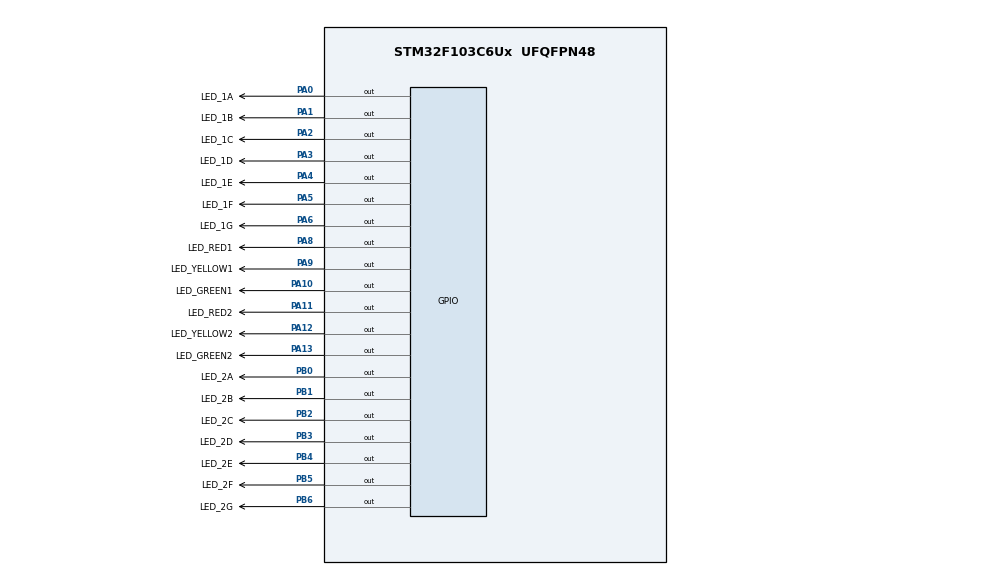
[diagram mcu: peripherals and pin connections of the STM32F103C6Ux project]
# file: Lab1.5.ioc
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Mcu.Family=STM32F1
Mcu.Name=STM32F103C6Ux
Mcu.Package=UFQFPN48
NVIC.PriorityGroup=NVIC_PRIORITYGROUP_4
PA0-WKUP.GPIO_Label=LED_1A
PA0-WKUP.Signal=GPIO_Output
PA1.GPIO_Label=LED_1B
PA1.Signal=GPIO_Output
PA10.GPIO_Label=LED_GREEN1
PA10.Signal=GPIO_Output
PA11.GPIO_Label=LED_RED2
PA11.Signal=GPIO_Output
PA12.GPIO_Label=LED_YELLOW2
PA12.Signal=GPIO_Output
PA13.GPIO_Label=LED_GREEN2
PA13.Signal=GPIO_Output
PA2.GPIO_Label=LED_1C
PA2.Signal=GPIO_Output
PA3.GPIO_Label=LED_1D
PA3.Signal=GPIO_Output
PA4.GPIO_Label=LED_1E
PA4.Signal=GPIO_Output
PA5.GPIO_Label=LED_1F
PA5.Signal=GPIO_Output
PA6.GPIO_Label=LED_1G
PA6.Signal=GPIO_Output
PA8.GPIO_Label=LED_RED1
PA8.Signal=GPIO_Output
PA9.GPIO_Label=LED_YELLOW1
PA9.Signal=GPIO_Output
PB0.GPIO_Label=LED_2A
PB0.Signal=GPIO_Output
PB1.GPIO_Label=LED_2B
PB1.Signal=GPIO_Output
PB2.GPIO_Label=LED_2C
PB2.Signal=GPIO_Output
PB3.GPIO_Label=LED_2D
PB3.Signal=GPIO_Output
PB4.GPIO_Label=LED_2E
PB4.Signal=GPIO_Output
PB5.GPIO_Label=LED_2F
PB5.Signal=GPIO_Output
PB6.GPIO_Label=LED_2G
PB6.Signal=GPIO_Output
ProjectManager.HeapSize=0x200
ProjectManager.StackSize=0x400
ProjectManager.TargetToolchain=STM32CubeIDE
RCC.APB1Freq_Value=8000000
RCC.APB2Freq_Value=8000000
VP_SYS_VS_ND.Mode=No_Debug
board=custom

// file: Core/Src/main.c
/* USER CODE BEGIN Header */
/**
  ******************************************************************************
  * @file           : main.c
  * @brief          : Main program body
  ******************************************************************************
  * @attention
  *
  * <h2><center>&copy; Copyright (c) 2025 STMicroelectronics.
  * All rights reserved.</center></h2>
  *
  * This software component is licensed by ST under BSD 3-Clause license,
  * the "License"; You may not use this file except in compliance with the
  * License. You may obtain a copy of the License at:
  *                        opensource.org/licenses/BSD-3-Clause
  *
  ******************************************************************************
  */
/* USER CODE END Header */
#include "main.h"

void SystemClock_Config(void);
static void MX_GPIO_Init(void);

int main(void)
{
  /* USER CODE BEGIN 1 */
	void display7SEG1(int num) {
		const uint8_t segmentMap[10][7] = {
			{1,1,1,1,1,1,0}, // 0
			{0,1,1,0,0,0,0}, // 1
			{1,1,0,1,1,0,1}, // 2
			{1,1,1,1,0,0,1}, // 3
			{0,1,1,0,0,1,1}, // 4
			{1,0,1,1,0,1,1}, // 5
			{1,0,1,1,1,1,1}, // 6
			{1,1,1,0,0,0,0}, // 7
			{1,1,1,1,1,1,1}, // 8
			{1,1,1,1,0,1,1}  // 9
		};

		if (num < 0 || num > 9) return; // invalid input

		HAL_GPIO_WritePin(LED_1A_GPIO_Port, LED_1A_Pin, segmentMap[num][0] ? GPIO_PIN_RESET : GPIO_PIN_SET);
		HAL_GPIO_WritePin(LED_1B_GPIO_Port, LED_1B_Pin, segmentMap[num][1] ? GPIO_PIN_RESET : GPIO_PIN_SET);
		HAL_GPIO_WritePin(LED_1C_GPIO_Port, LED_1C_Pin, segmentMap[num][2] ? GPIO_PIN_RESET : GPIO_PIN_SET);
		HAL_GPIO_WritePin(LED_1D_GPIO_Port, LED_1D_Pin, segmentMap[num][3] ? GPIO_PIN_RESET : GPIO_PIN_SET);
		HAL_GPIO_WritePin(LED_1E_GPIO_Port, LED_1E_Pin, segmentMap[num][4] ? GPIO_PIN_RESET : GPIO_PIN_SET);
		HAL_GPIO_WritePin(LED_1F_GPIO_Port, LED_1F_Pin, segmentMap[num][5] ? GPIO_PIN_RESET : GPIO_PIN_SET);
		HAL_GPIO_WritePin(LED_1G_GPIO_Port, LED_1G_Pin, segmentMap[num][6] ? GPIO_PIN_RESET : GPIO_PIN_SET);

	}
	void display7SEG2(int num) {
		const uint8_t segmentMap[10][7] = {
			{1,1,1,1,1,1,0}, // 0
			{0,1,1,0,0,0,0}, // 1
			{1,1,0,1,1,0,1}, // 2
			{1,1,1,1,0,0,1}, // 3
			{0,1,1,0,0,1,1}, // 4
			{1,0,1,1,0,1,1}, // 5
			{1,0,1,1,1,1,1}, // 6
			{1,1,1,0,0,0,0}, // 7
			{1,1,1,1,1,1,1}, // 8
			{1,1,1,1,0,1,1}  // 9
		};

		if (num < 0 || num > 9) return; // invalid input

		HAL_GPIO_WritePin(LED_2A_GPIO_Port, LED_2A_Pin, segmentMap[num][0] ? GPIO_PIN_RESET : GPIO_PIN_SET);
		HAL_GPIO_WritePin(LED_2B_GPIO_Port, LED_2B_Pin, segmentMap[num][1] ? GPIO_PIN_RESET : GPIO_PIN_SET);
		HAL_GPIO_WritePin(LED_2C_GPIO_Port, LED_2C_Pin, segmentMap[num][2] ? GPIO_PIN_RESET : GPIO_PIN_SET);
		HAL_GPIO_WritePin(LED_2D_GPIO_Port, LED_2D_Pin, segmentMap[num][3] ? GPIO_PIN_RESET : GPIO_PIN_SET);
		HAL_GPIO_WritePin(LED_2E_GPIO_Port, LED_2E_Pin, segmentMap[num][4] ? GPIO_PIN_RESET : GPIO_PIN_SET);
		HAL_GPIO_WritePin(LED_2F_GPIO_Port, LED_2F_Pin, segmentMap[num][5] ? GPIO_PIN_RESET : GPIO_PIN_SET);
		HAL_GPIO_WritePin(LED_2G_GPIO_Port, LED_2G_Pin, segmentMap[num][6] ? GPIO_PIN_RESET : GPIO_PIN_SET);

	}
  /* USER CODE END 1 */

  /* MCU Configuration--------------------------------------------------------*/

  /* Reset of all peripherals, Initializes the Flash interface and the Systick. */
  HAL_Init();

  /* Configure the system clock */
  SystemClock_Config();

  /* Initialize all configured peripherals */
  MX_GPIO_Init();
  /* USER CODE BEGIN 2 */
  int RED_TIME    = 9;
  int GREEN_TIME  = 5;
  int YELLOW_TIME = RED_TIME-GREEN_TIME;
  int counter = RED_TIME + GREEN_TIME + YELLOW_TIME;
  /* USER CODE END 2 */

  /* Infinite loop */
  /* USER CODE BEGIN WHILE */
  while (1)
  {
	  //RED1 GREEN2 5S
	  if (counter > (RED_TIME + YELLOW_TIME)){
		  HAL_GPIO_WritePin(LED_RED1_GPIO_Port, LED_RED1_Pin, GPIO_PIN_RESET);
		  HAL_GPIO_WritePin(LED_YELLOW1_GPIO_Port, LED_YELLOW1_Pin, GPIO_PIN_SET);
		  HAL_GPIO_WritePin(LED_GREEN1_GPIO_Port, LED_GREEN1_Pin, GPIO_PIN_SET);

		  HAL_GPIO_WritePin(LED_RED2_GPIO_Port, LED_RED2_Pin, GPIO_PIN_SET);
		  HAL_GPIO_WritePin(LED_YELLOW2_GPIO_Port, LED_YELLOW2_Pin, GPIO_PIN_SET);
		  HAL_GPIO_WritePin(LED_GREEN2_GPIO_Port, LED_GREEN2_Pin, GPIO_PIN_RESET);

		  display7SEG1(counter - RED_TIME);
		  display7SEG2(counter - RED_TIME - YELLOW_TIME);
	  }
	  //RED1 YELLOW2 4S
	  else if (counter > RED_TIME){
		  HAL_GPIO_WritePin(LED_RED1_GPIO_Port, LED_RED1_Pin, GPIO_PIN_RESET);
		  HAL_GPIO_WritePin(LED_YELLOW1_GPIO_Port, LED_YELLOW1_Pin, GPIO_PIN_SET);
		  HAL_GPIO_WritePin(LED_GREEN1_GPIO_Port, LED_GREEN1_Pin, GPIO_PIN_SET);

		  HAL_GPIO_WritePin(LED_RED2_GPIO_Port, LED_RED2_Pin, GPIO_PIN_SET);
		  HAL_GPIO_WritePin(LED_YELLOW2_GPIO_Port, LED_YELLOW2_Pin, GPIO_PIN_RESET);
		  HAL_GPIO_WritePin(LED_GREEN2_GPIO_Port, LED_GREEN2_Pin, GPIO_PIN_SET);

		  display7SEG1(counter - RED_TIME);
		  display7SEG2(counter - RED_TIME);

	  }
	  //GREEN1 RED2 5S
	  else if (counter > YELLOW_TIME){
		  HAL_GPIO_WritePin(LED_RED1_GPIO_Port, LED_RED1_Pin, GPIO_PIN_SET);
		  HAL_GPIO_WritePin(LED_YELLOW1_GPIO_Port, LED_YELLOW1_Pin, GPIO_PIN_SET);
		  HAL_GPIO_WritePin(LED_GREEN1_GPIO_Port, LED_GREEN1_Pin, GPIO_PIN_RESET);

		  HAL_GPIO_WritePin(LED_RED2_GPIO_Port, LED_RED2_Pin, GPIO_PIN_RESET);
		  HAL_GPIO_WritePin(LED_YELLOW2_GPIO_Port, LED_YELLOW2_Pin, GPIO_PIN_SET);
		  HAL_GPIO_WritePin(LED_GREEN2_GPIO_Port, LED_GREEN2_Pin, GPIO_PIN_SET);

		  display7SEG1(counter - YELLOW_TIME);
		  display7SEG2(counter);

	  }
	  // YELLOW1 RED2 4S
	  else {
		  HAL_GPIO_WritePin(LED_RED1_GPIO_Port, LED_RED1_Pin, GPIO_PIN_SET);
		  HAL_GPIO_WritePin(LED_YELLOW1_GPIO_Port, LED_YELLOW1_Pin, GPIO_PIN_RESET);
		  HAL_GPIO_WritePin(LED_GREEN1_GPIO_Port, LED_GREEN1_Pin, GPIO_PIN_SET);

		  HAL_GPIO_WritePin(LED_RED2_GPIO_Port, LED_RED2_Pin, GPIO_PIN_RESET);
		  HAL_GPIO_WritePin(LED_YELLOW2_GPIO_Port, LED_YELLOW2_Pin, GPIO_PIN_SET);
		  HAL_GPIO_WritePin(LED_GREEN2_GPIO_Port, LED_GREEN2_Pin, GPIO_PIN_SET);

		  display7SEG1(counter);
		  display7SEG2(counter);

	  }
	  HAL_Delay(1000);

  	  counter--;
  	  if (counter == 0){
  		  counter = RED_TIME*2;
  	  }
    /* USER CODE END WHILE */

  }
}

void SystemClock_Config(void)
{
  RCC_OscInitTypeDef RCC_OscInitStruct = {0};
  RCC_ClkInitTypeDef RCC_ClkInitStruct = {0};

  /** Initializes the RCC Oscillators according to the specified parameters
  * in the RCC_OscInitTypeDef structure.
  */
  RCC_OscInitStruct.OscillatorType = RCC_OSCILLATORTYPE_HSI;
  RCC_OscInitStruct.HSIState = RCC_HSI_ON;
  RCC_OscInitStruct.HSICalibrationValue = RCC_HSICALIBRATION_DEFAULT;
  RCC_OscInitStruct.PLL.PLLState = RCC_PLL_NONE;
  if (HAL_RCC_OscConfig(&RCC_OscInitStruct) != HAL_OK)
  {
    Error_Handler();
  }
  /** Initializes the CPU, AHB and APB buses clocks
  */
  RCC_ClkInitStruct.ClockType = RCC_CLOCKTYPE_HCLK|RCC_CLOCKTYPE_SYSCLK
                              |RCC_CLOCKTYPE_PCLK1|RCC_CLOCKTYPE_PCLK2;
  RCC_ClkInitStruct.SYSCLKSource = RCC_SYSCLKSOURCE_HSI;
  RCC_ClkInitStruct.AHBCLKDivider = RCC_SYSCLK_DIV1;
  RCC_ClkInitStruct.APB1CLKDivider = RCC_HCLK_DIV1;
  RCC_ClkInitStruct.APB2CLKDivider = RCC_HCLK_DIV1;

  if (HAL_RCC_ClockConfig(&RCC_ClkInitStruct, FLASH_LATENCY_0) != HAL_OK)
  {
    Error_Handler();
  }
}

static void MX_GPIO_Init(void)
{
  GPIO_InitTypeDef GPIO_InitStruct = {0};

  /* GPIO Ports Clock Enable */
  __HAL_RCC_GPIOA_CLK_ENABLE();
  __HAL_RCC_GPIOB_CLK_ENABLE();

  /*Configure GPIO pin Output Level */
  HAL_GPIO_WritePin(GPIOA, LED_1A_Pin|LED_1B_Pin|LED_1C_Pin|LED_1D_Pin
                          |LED_1E_Pin|LED_1F_Pin|LED_1G_Pin|LED_RED1_Pin
                          |LED_YELLOW1_Pin|LED_GREEN1_Pin|LED_RED2_Pin|LED_YELLOW2_Pin
                          |LED_GREEN2_Pin, GPIO_PIN_RESET);

  /*Configure GPIO pin Output Level */
  HAL_GPIO_WritePin(GPIOB, LED_2A_Pin|LED_2B_Pin|LED_2C_Pin|LED_2D_Pin
                          |LED_2E_Pin|LED_2F_Pin|LED_2G_Pin, GPIO_PIN_RESET);

  /*Configure GPIO pins : LED_1A_Pin LED_1B_Pin LED_1C_Pin LED_1D_Pin
                           LED_1E_Pin LED_1F_Pin LED_1G_Pin LED_RED1_Pin
                           LED_YELLOW1_Pin LED_GREEN1_Pin LED_RED2_Pin LED_YELLOW2_Pin
                           LED_GREEN2_Pin */
  GPIO_InitStruct.Pin = LED_1A_Pin|LED_1B_Pin|LED_1C_Pin|LED_1D_Pin
                          |LED_1E_Pin|LED_1F_Pin|LED_1G_Pin|LED_RED1_Pin
                          |LED_YELLOW1_Pin|LED_GREEN1_Pin|LED_RED2_Pin|LED_YELLOW2_Pin
                          |LED_GREEN2_Pin;
  GPIO_InitStruct.Mode = GPIO_MODE_OUTPUT_PP;
  GPIO_InitStruct.Pull = GPIO_NOPULL;
  GPIO_InitStruct.Speed = GPIO_SPEED_FREQ_LOW;
  HAL_GPIO_Init(GPIOA, &GPIO_InitStruct);

  /*Configure GPIO pins : LED_2A_Pin LED_2B_Pin LED_2C_Pin LED_2D_Pin
                           LED_2E_Pin LED_2F_Pin LED_2G_Pin */
  GPIO_InitStruct.Pin = LED_2A_Pin|LED_2B_Pin|LED_2C_Pin|LED_2D_Pin
                          |LED_2E_Pin|LED_2F_Pin|LED_2G_Pin;
  GPIO_InitStruct.Mode = GPIO_MODE_OUTPUT_PP;
  GPIO_InitStruct.Pull = GPIO_NOPULL;
  GPIO_InitStruct.Speed = GPIO_SPEED_FREQ_LOW;
  HAL_GPIO_Init(GPIOB, &GPIO_InitStruct);

}

void Error_Handler(void)
{
  __disable_irq();
  while (1)
  {
  }
}

/************************ (C) COPYRIGHT STMicroelectronics *****END OF FILE****/
